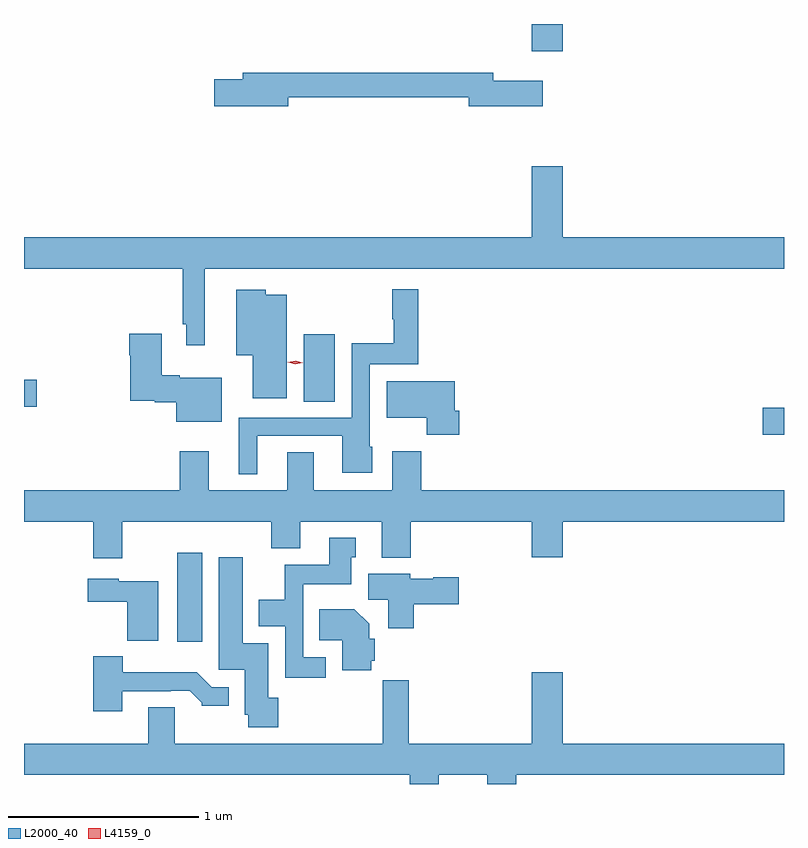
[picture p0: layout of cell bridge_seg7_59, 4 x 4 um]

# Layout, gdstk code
import gdstk
lib = gdstk.Library(unit=1e-6, precision=1e-09)
def R(c, l, rs):  # rectangles x0, y0, x1, y1
    for r in rs: c.add(gdstk.rectangle(r[:2], r[2:], *l))
def P(c, l, *ps):  # polygons
    for p in ps: c.add(gdstk.Polygon(p, *l))
L2000_40 = (2000, 40)
L4159_0 = (4159, 0)

bridge_seg7_59 = lib.new_cell('bridge_seg7_59')
R(bridge_seg7_59, L2000_40, [(978.326,1013.304,978.457,1013.773), (981.408,1014.394,981.52,1014.536), (977.52,1014.541,977.587,1014.683), (978.992,1014.568,979.156,1014.922), (980.192,1016.412,980.356,1016.555)])
P(bridge_seg7_59, L2000_40, [(978.91,1016.17),(979.862,1016.17),(979.862,1016.123),(980.251,1016.123),(980.251,1016.257),(979.99,1016.257),(979.99,1016.299),(978.671,1016.299),(978.671,1016.265),(978.522,1016.265),(978.522,1016.123),(978.91,1016.123)],
  [(978.472,1015.268),(981.52,1015.268),(981.52,1015.432),(980.356,1015.432),(980.356,1015.807),(980.192,1015.807),(980.192,1015.432),(977.52,1015.432),(977.52,1015.268),(978.355,1015.268),(978.355,1014.976),(978.374,1014.976),(978.374,1014.864),(978.472,1014.864)],
  [(978.748,1014.387),(979.196,1014.387),(979.196,1014.194),(979.354,1014.194),(979.354,1014.33),(979.341,1014.33),(979.341,1014.765),(979.595,1014.765),(979.595,1015.159),(979.459,1015.159),(979.459,1015.002),(979.467,1015.002),(979.467,1014.874),(979.245,1014.874),(979.245,1014.483),(978.65,1014.483),(978.65,1014.186),(978.748,1014.186)],
  [(978.904,1015.129),(978.792,1015.129),(978.792,1015.156),(978.638,1015.156),(978.638,1014.812),(978.725,1014.812),(978.725,1014.584),(978.904,1014.584)],
  [(978.562,1014.694),(978.34,1014.694),(978.34,1014.707),(978.244,1014.707),(978.244,1014.925),(978.074,1014.925),(978.074,1014.812),(978.079,1014.812),(978.079,1014.572),(978.207,1014.572),(978.207,1014.565),(978.32,1014.565),(978.32,1014.461),(978.562,1014.461)],
  [(979.811,1014.519),(979.786,1014.519),(979.786,1014.676),(979.43,1014.676),(979.43,1014.482),(979.64,1014.482),(979.64,1014.394),(979.811,1014.394)],
  [(978.037,1013.936),(978.821,1013.936),(978.821,1013.795),(978.973,1013.795),(978.973,1013.936),(979.403,1013.936),(979.403,1013.747),(979.556,1013.747),(979.556,1013.936),(980.192,1013.936),(980.192,1013.748),(980.356,1013.748),(980.356,1013.936),(981.52,1013.936),(981.52,1014.1),(979.61,1014.1),(979.61,1014.307),(979.457,1014.307),(979.457,1014.1),(979.045,1014.1),(979.045,1014.302),(978.905,1014.302),(978.905,1014.1),(978.493,1014.1),(978.493,1014.307),(978.341,1014.307),(978.341,1014.1),(977.52,1014.1),(977.52,1013.936),(977.885,1013.936),(977.885,1013.742),(978.037,1013.742)],
  [(979.108,1013.223),(978.99,1013.223),(978.99,1013.606),(979.243,1013.606),(979.243,1013.748),(979.267,1013.748),(979.267,1013.851),(979.127,1013.851),(979.127,1013.71),(978.892,1013.71),(978.892,1013.524),(978.755,1013.524),(978.755,1013.384),(978.894,1013.384),(978.894,1013.115),(979.108,1013.115)],
  [(978.857,1013.01),(978.805,1013.01),(978.805,1013.296),(978.67,1013.296),(978.67,1013.749),(978.545,1013.749),(978.545,1013.157),(978.683,1013.157),(978.683,1012.92),(978.7,1012.92),(978.7,1012.854),(978.857,1012.854)],
  [(979.571,1013.501),(979.807,1013.501),(979.807,1013.643),(979.674,1013.643),(979.674,1013.635),(979.554,1013.635),(979.554,1013.662),(979.331,1013.662),(979.331,1013.524),(979.436,1013.524),(979.436,1013.376),(979.571,1013.376)],
  [(978.226,1013.623),(978.018,1013.623),(978.018,1013.635),(977.856,1013.635),(977.856,1013.513),(978.064,1013.513),(978.064,1013.309),(978.226,1013.309)],
  [(979.348,1013.205),(979.367,1013.205),(979.367,1013.319),(979.336,1013.319),(979.336,1013.398),(979.258,1013.476),(979.075,1013.476),(979.075,1013.312),(979.196,1013.312),(979.196,1013.155),(979.348,1013.155)],
  [(978.037,1013.043),(978.293,1013.043),(978.293,1013.046),(978.392,1013.046),(978.456,1012.982),(978.456,1012.967),(978.598,1012.967),(978.598,1013.064),(978.507,1013.064),(978.429,1013.143),(978.04,1013.143),(978.04,1013.227),(977.885,1013.227),(977.885,1012.938),(978.037,1012.938)],
  [(980.192,1013.143),(980.192,1012.768),(979.544,1012.768),(979.544,1013.101),(979.408,1013.101),(979.408,1012.768),(978.313,1012.768),(978.313,1012.958),(978.173,1012.958),(978.173,1012.768),(977.52,1012.768),(977.52,1012.604),(979.55,1012.604),(979.55,1012.555),(979.702,1012.555),(979.702,1012.604),(979.958,1012.604),(979.958,1012.555),(980.111,1012.555),(980.111,1012.604),(981.52,1012.604),(981.52,1012.768),(980.356,1012.768),(980.356,1013.143)])
P(bridge_seg7_59, L4159_0, [(978.948,1014.763),(978.909,1014.774),(978.909,1014.774),(978.909,1014.774),(978.949,1014.783),(978.988,1014.773),(978.988,1014.773),(978.988,1014.773)])

lib.write_gds('bridge_seg7_59.gds')
